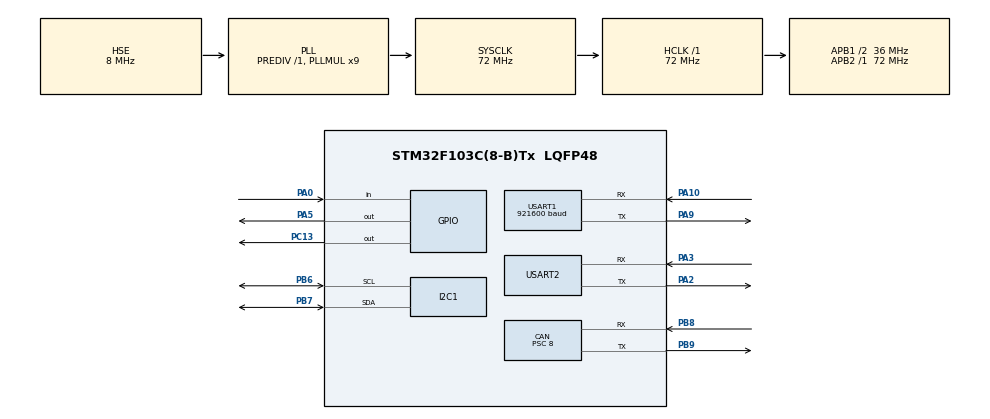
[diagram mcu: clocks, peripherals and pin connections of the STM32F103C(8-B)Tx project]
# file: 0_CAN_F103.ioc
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CAN.BS1=CAN_BS1_6TQ
CAN.BS2=CAN_BS2_2TQ
CAN.CalculateBaudRate=500000
CAN.CalculateTimeBit=2000
CAN.CalculateTimeQuantum=222.22222222222223
CAN.Prescaler=8
CAN.SJW=CAN_SJW_1TQ
Dma.Request0=USART1_RX
Dma.Request1=USART1_TX
Dma.USART1_RX.0.Direction=DMA_PERIPH_TO_MEMORY
Dma.USART1_RX.0.Instance=DMA1_Channel5
Dma.USART1_RX.0.MemDataAlignment=DMA_MDATAALIGN_BYTE
Dma.USART1_RX.0.MemInc=DMA_MINC_ENABLE
Dma.USART1_RX.0.Mode=DMA_NORMAL
Dma.USART1_RX.0.PeriphDataAlignment=DMA_PDATAALIGN_BYTE
Dma.USART1_RX.0.PeriphInc=DMA_PINC_DISABLE
Dma.USART1_RX.0.Priority=DMA_PRIORITY_LOW
Dma.USART1_TX.1.Direction=DMA_MEMORY_TO_PERIPH
Dma.USART1_TX.1.Instance=DMA1_Channel4
Dma.USART1_TX.1.MemDataAlignment=DMA_MDATAALIGN_BYTE
Dma.USART1_TX.1.MemInc=DMA_MINC_ENABLE
Dma.USART1_TX.1.Mode=DMA_NORMAL
Dma.USART1_TX.1.PeriphDataAlignment=DMA_PDATAALIGN_BYTE
Dma.USART1_TX.1.PeriphInc=DMA_PINC_DISABLE
Dma.USART1_TX.1.Priority=DMA_PRIORITY_LOW
Mcu.Family=STM32F1
Mcu.Name=STM32F103C(8-B)Tx
Mcu.Package=LQFP48
NVIC.CAN1_RX1_IRQn=true\:0\:0\:false\:false\:true\:true\:true\:true
NVIC.CAN1_SCE_IRQn=true\:0\:0\:false\:false\:true\:true\:true\:true
NVIC.DMA1_Channel4_IRQn=true\:0\:0\:false\:false\:true\:false\:true\:true
NVIC.DMA1_Channel5_IRQn=true\:0\:0\:false\:false\:true\:false\:true\:true
NVIC.PriorityGroup=NVIC_PRIORITYGROUP_4
NVIC.TIM4_IRQn=true\:0\:0\:false\:false\:true\:true\:true\:true
NVIC.USART1_IRQn=true\:0\:0\:false\:false\:true\:true\:true\:true
NVIC.USB_HP_CAN1_TX_IRQn=true\:0\:0\:false\:false\:true\:true\:true\:true
NVIC.USB_LP_CAN1_RX0_IRQn=true\:0\:0\:false\:false\:true\:true\:true\:true
PA0-WKUP.GPIO_PuPd=GPIO_PULLUP
PA0-WKUP.Signal=GPIO_Input
PA10.Mode=Asynchronous
PA10.Signal=USART1_RX
PA13.Mode=Serial_Wire
PA13.Signal=SYS_JTMS-SWDIO
PA14.Mode=Serial_Wire
PA14.Signal=SYS_JTCK-SWCLK
PA2.Mode=Asynchronous
PA2.Signal=USART2_TX
PA3.Mode=Asynchronous
PA3.Signal=USART2_RX
PA5.GPIO_ModeDefaultOutputPP=GPIO_MODE_OUTPUT_PP
PA5.GPIO_PuPd=GPIO_PULLUP
PA5.Signal=GPIO_Output
PA9.Mode=Asynchronous
PA9.Signal=USART1_TX
PB6.Mode=I2C
PB6.Signal=I2C1_SCL
PB7.Mode=I2C
PB7.Signal=I2C1_SDA
PB8.Mode=CAN_Activate
PB8.Signal=CAN_RX
PB9.Mode=CAN_Activate
PB9.Signal=CAN_TX
PC13-TAMPER-RTC.GPIO_ModeDefaultOutputPP=GPIO_MODE_OUTPUT_OD
PC13-TAMPER-RTC.GPIO_PuPd=GPIO_NOPULL
PC13-TAMPER-RTC.Signal=GPIO_Output
PD0-OSC_IN.Mode=HSE-External-Oscillator
PD0-OSC_IN.Signal=RCC_OSC_IN
PD1-OSC_OUT.Mode=HSE-External-Oscillator
PD1-OSC_OUT.Signal=RCC_OSC_OUT
ProjectManager.HeapSize=0x1000
ProjectManager.StackSize=0x1000
ProjectManager.TargetToolchain=STM32CubeIDE
RCC.ADCPresc=RCC_ADCPCLK2_DIV6
RCC.AHBFreq_Value=72000000
RCC.APB1CLKDivider=RCC_HCLK_DIV2
RCC.APB1Freq_Value=36000000
RCC.APB1TimFreq_Value=72000000
RCC.APB2Freq_Value=72000000
RCC.APB2TimFreq_Value=72000000
RCC.HCLKFreq_Value=72000000
RCC.PLLMUL=RCC_PLL_MUL9
RCC.PLLSourceVirtual=RCC_PLLSOURCE_HSE
RCC.SYSCLKFreq_VALUE=72000000
RCC.SYSCLKSource=RCC_SYSCLKSOURCE_PLLCLK
RCC.USBFreq_Value=48000000
RCC.USBPrescaler=RCC_USBCLKSOURCE_PLL_DIV1_5
TIM4.Period=999
TIM4.Prescaler=71
TIM4.TIM_MasterOutputTrigger=TIM_TRGO_UPDATE
USART1.BaudRate=921600
USART1.StopBits=STOPBITS_2
USART1.VirtualMode=VM_ASYNC
USART2.StopBits=STOPBITS_2
USART2.VirtualMode=VM_ASYNC
VP_TIM1_VS_ClockSourceINT.Mode=Internal
VP_TIM2_VS_ClockSourceINT.Mode=Internal
VP_TIM3_VS_ClockSourceINT.Mode=Internal
VP_TIM4_VS_ClockSourceINT.Mode=Internal
board=custom

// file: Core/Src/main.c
/* USER CODE BEGIN Header */
/**
  ******************************************************************************
  * @file           : main.c
  * @brief          : Main program body
  ******************************************************************************
  * @attention
  *
  * Copyright (c) 2024 STMicroelectronics.
  * All rights reserved.
  *
  * This software is licensed under terms that can be found in the LICENSE file
  * in the root directory of this software component.
  * If no LICENSE file comes with this software, it is provided AS-IS.
  *
  ******************************************************************************
  */
/* USER CODE END Header */
#include "main.h"

/* USER CODE BEGIN Includes */
#include "CO_app_STM32.h"
#include "OD.h"
/* USER CODE END Includes */

CAN_HandleTypeDef hcan;

I2C_HandleTypeDef hi2c1;

TIM_HandleTypeDef htim1;
TIM_HandleTypeDef htim2;
TIM_HandleTypeDef htim3;
TIM_HandleTypeDef htim4;

UART_HandleTypeDef huart1;
UART_HandleTypeDef huart2;
DMA_HandleTypeDef hdma_usart1_rx;
DMA_HandleTypeDef hdma_usart1_tx;

/* USER CODE BEGIN PV */
uint8_t Tx_Array[16]={0x5e,0x6d,0x7f,0x8a,0xa5,0xb6,0xc7,0x1c,0x2e,0x14,0x15,0x1d,0xf3,0xa4,0xc5,0xb3};
uint8_t Rx_Array[16]={0};
CAN_TxHeaderTypeDef Tx_Header;
uint32_t              TxMailbox;
uint64_t            tmp64u_1 = 0x1e1f010b1f1f;
uint64_t            tmp64u_0 = 0x0e0f0a0b0f0f;
uint32_t            tmp32u_0 = 0x0e0f0a0b;
uint32_t            tmp32u_1 = 0x1e1f0a11;
char String_0[]={"String_for_Test_UART     "};
uint32_t Ticks=0;
uint32_t cnt32=0;

/* USER CODE END PV */

void SystemClock_Config(void);
static void MX_GPIO_Init(void);
static void MX_DMA_Init(void);
static void MX_CAN_Init(void);
static void MX_TIM1_Init(void);
static void MX_TIM2_Init(void);
static void MX_TIM3_Init(void);
static void MX_TIM4_Init(void);
static void MX_USART1_UART_Init(void);
static void MX_USART2_UART_Init(void);
static void MX_I2C1_Init(void);

/* USER CODE BEGIN 0 */
/* Timer interrupt function executes every 1 ms */
void
HAL_TIM_PeriodElapsedCallback(TIM_HandleTypeDef* htim)
{
//static uint8_t cvb=0;
//  cvb++;
//  cvb%=128*4;
//  if(cvb==0){HAL_GPIO_TogglePin(GPIOC, GPIO_PIN_13);}
  if (htim == canopenNodeSTM32->timerHandle) {canopen_app_interrupt();}

}
/* USER CODE END 0 */

int main(void)
{

  /* MCU Configuration--------------------------------------------------------*/

  /* Reset of all peripherals, Initializes the Flash interface and the Systick. */
  HAL_Init();

  /* Configure the system clock */
  SystemClock_Config();

  /* Initialize all configured peripherals */
  MX_GPIO_Init();
  MX_DMA_Init();
  MX_CAN_Init();
  MX_TIM1_Init();
  MX_TIM2_Init();
  MX_TIM3_Init();
  MX_TIM4_Init();
  MX_USART1_UART_Init();
  MX_USART2_UART_Init();
  MX_I2C1_Init();
  /* USER CODE BEGIN 2 */

    HAL_Delay(500);
//    String_0[sizeof(String_0) -1] = 0x0A;
//    String_0[sizeof(String_0) -2] = 0x0D;
//    HAL_UART_Transmit_DMA( &huart1, (uint8_t*)(String_0), sizeof(String_0) );
//    while (1){}

#if 0
    //TEST CAN line by Saleae Logic Analizer
  Tx_Header.IDE    = CAN_ID_STD;
  Tx_Header.ExtId  = 0;
  Tx_Header.DLC    = 8;
  Tx_Header.StdId  = 0x321;
  Tx_Header.RTR    = CAN_RTR_DATA;

  HAL_CAN_Start(&hcan);  HAL_Delay(1500);

  if(
      HAL_CAN_AddTxMessage( &hcan,
    		                &Tx_Header,
							Tx_Array, &TxMailbox)==HAL_OK
  	 ){
	  /* Wait transmission complete */
	  //while(HAL_CAN_GetTxMailboxesFreeLevel(&hcan) != 3) {}
		  for(uint8_t cnt=0;cnt<8;cnt++)
		  {
		   HAL_GPIO_TogglePin(GPIOC, GPIO_PIN_13);
		   HAL_Delay(64);
		  }
	  }
#endif

for(uint8_t cnt=0;cnt<50;cnt++)
{
	HAL_GPIO_TogglePin(GPIOA, GPIO_PIN_5 );
	HAL_GPIO_TogglePin(GPIOC, GPIO_PIN_13 );
    HAL_Delay(20);
}
//HAL_GPIO_WritePin(GPIOA, GPIO_PIN_5, GPIO_PIN_RESET);//off
//HAL_GPIO_WritePin(GPIOC, GPIO_PIN_13, GPIO_PIN_SET);  HAL_Delay(2200);//off

  CANopenNodeSTM32 canOpenNodeSTM32;
  canOpenNodeSTM32.CANHandle = &hcan;
  canOpenNodeSTM32.HWInitFunction = MX_CAN_Init;
  canOpenNodeSTM32.timerHandle = &htim4;
  canOpenNodeSTM32.desiredNodeID = 103;
  canOpenNodeSTM32.baudrate = 125*4;
  canopen_app_init(&canOpenNodeSTM32);

  //HAL_Delay(4000);
  //while (1){}

  /* USER CODE END 2 */

  /* Infinite loop */
  /* USER CODE BEGIN WHILE */
  HAL_GPIO_WritePin(GPIOC, GPIO_PIN_13, !canOpenNodeSTM32.outStatusLEDGreen);
  HAL_GPIO_WritePin(GPIOA, GPIO_PIN_5 ,  canOpenNodeSTM32.outStatusLEDRed  );

  while (1)
  {
	  HAL_GPIO_WritePin(GPIOC, GPIO_PIN_13, !canOpenNodeSTM32.outStatusLEDGreen);
	  HAL_GPIO_WritePin(GPIOA, GPIO_PIN_5 ,  canOpenNodeSTM32.outStatusLEDRed  );

	  canopen_app_process();

	  		  if(HAL_GetTick() - Ticks>499)
	  		  {Ticks = HAL_GetTick();}

	  			if(tmp32u_0 != OD_PERSIST_COMM.x6001_F103_VAR32_6001R)
	  			{
	  			tmp32u_0 = OD_PERSIST_COMM.x6001_F103_VAR32_6001R;
	  			huart1.gState = HAL_UART_STATE_READY;
	  			HAL_UART_Transmit_DMA( &huart1, (uint8_t*)(&tmp32u_0), 4);
	  			}

//	  			if(tmp32u_1 != OD_PERSIST_COMM.x6002_F103_VAR32_6002R)
//	  			{
//	  				tmp32u_1 = OD_PERSIST_COMM.x6002_F103_VAR32_6002R;
//	  			huart1.gState = HAL_UART_STATE_READY;
//	  			HAL_UART_Transmit_DMA( &huart1, (uint8_t*)(&tmp32u_1), 4);
//	  			}

    /* USER CODE END WHILE */

  }
}

void SystemClock_Config(void)
{
  RCC_OscInitTypeDef RCC_OscInitStruct = {0};
  RCC_ClkInitTypeDef RCC_ClkInitStruct = {0};

  /** Initializes the RCC Oscillators according to the specified parameters
  * in the RCC_OscInitTypeDef structure.
  */
  RCC_OscInitStruct.OscillatorType = RCC_OSCILLATORTYPE_HSE;
  RCC_OscInitStruct.HSEState = RCC_HSE_ON;
  RCC_OscInitStruct.HSEPredivValue = RCC_HSE_PREDIV_DIV1;
  RCC_OscInitStruct.HSIState = RCC_HSI_ON;
  RCC_OscInitStruct.PLL.PLLState = RCC_PLL_ON;
  RCC_OscInitStruct.PLL.PLLSource = RCC_PLLSOURCE_HSE;
  RCC_OscInitStruct.PLL.PLLMUL = RCC_PLL_MUL9;
  if (HAL_RCC_OscConfig(&RCC_OscInitStruct) != HAL_OK)
  {
    Error_Handler();
  }

  /** Initializes the CPU, AHB and APB buses clocks
  */
  RCC_ClkInitStruct.ClockType = RCC_CLOCKTYPE_HCLK|RCC_CLOCKTYPE_SYSCLK
                              |RCC_CLOCKTYPE_PCLK1|RCC_CLOCKTYPE_PCLK2;
  RCC_ClkInitStruct.SYSCLKSource = RCC_SYSCLKSOURCE_PLLCLK;
  RCC_ClkInitStruct.AHBCLKDivider = RCC_SYSCLK_DIV1;
  RCC_ClkInitStruct.APB1CLKDivider = RCC_HCLK_DIV2;
  RCC_ClkInitStruct.APB2CLKDivider = RCC_HCLK_DIV1;

  if (HAL_RCC_ClockConfig(&RCC_ClkInitStruct, FLASH_LATENCY_2) != HAL_OK)
  {
    Error_Handler();
  }
}

static void MX_CAN_Init(void)
{

  hcan.Instance = CAN1;
  hcan.Init.Prescaler = 8;
  hcan.Init.Mode = CAN_MODE_NORMAL;
  hcan.Init.SyncJumpWidth = CAN_SJW_1TQ;
  hcan.Init.TimeSeg1 = CAN_BS1_6TQ;
  hcan.Init.TimeSeg2 = CAN_BS2_2TQ;
  hcan.Init.TimeTriggeredMode = DISABLE;
  hcan.Init.AutoBusOff = DISABLE;
  hcan.Init.AutoWakeUp = DISABLE;
  hcan.Init.AutoRetransmission = DISABLE;
  hcan.Init.ReceiveFifoLocked = DISABLE;
  hcan.Init.TransmitFifoPriority = DISABLE;
  if (HAL_CAN_Init(&hcan) != HAL_OK)
  {
    Error_Handler();
  }

}

static void MX_I2C1_Init(void)
{

  hi2c1.Instance = I2C1;
  hi2c1.Init.ClockSpeed = 100000;
  hi2c1.Init.DutyCycle = I2C_DUTYCYCLE_2;
  hi2c1.Init.OwnAddress1 = 0;
  hi2c1.Init.AddressingMode = I2C_ADDRESSINGMODE_7BIT;
  hi2c1.Init.DualAddressMode = I2C_DUALADDRESS_DISABLE;
  hi2c1.Init.OwnAddress2 = 0;
  hi2c1.Init.GeneralCallMode = I2C_GENERALCALL_DISABLE;
  hi2c1.Init.NoStretchMode = I2C_NOSTRETCH_DISABLE;
  if (HAL_I2C_Init(&hi2c1) != HAL_OK)
  {
    Error_Handler();
  }

}

static void MX_TIM1_Init(void)
{

  TIM_ClockConfigTypeDef sClockSourceConfig = {0};
  TIM_MasterConfigTypeDef sMasterConfig = {0};

  htim1.Instance = TIM1;
  htim1.Init.Prescaler = 0;
  htim1.Init.CounterMode = TIM_COUNTERMODE_UP;
  htim1.Init.Period = 65535;
  htim1.Init.ClockDivision = TIM_CLOCKDIVISION_DIV1;
  htim1.Init.RepetitionCounter = 0;
  htim1.Init.AutoReloadPreload = TIM_AUTORELOAD_PRELOAD_DISABLE;
  if (HAL_TIM_Base_Init(&htim1) != HAL_OK)
  {
    Error_Handler();
  }
  sClockSourceConfig.ClockSource = TIM_CLOCKSOURCE_INTERNAL;
  if (HAL_TIM_ConfigClockSource(&htim1, &sClockSourceConfig) != HAL_OK)
  {
    Error_Handler();
  }
  sMasterConfig.MasterOutputTrigger = TIM_TRGO_RESET;
  sMasterConfig.MasterSlaveMode = TIM_MASTERSLAVEMODE_DISABLE;
  if (HAL_TIMEx_MasterConfigSynchronization(&htim1, &sMasterConfig) != HAL_OK)
  {
    Error_Handler();
  }

}

static void MX_TIM2_Init(void)
{

  TIM_ClockConfigTypeDef sClockSourceConfig = {0};
  TIM_MasterConfigTypeDef sMasterConfig = {0};

  htim2.Instance = TIM2;
  htim2.Init.Prescaler = 0;
  htim2.Init.CounterMode = TIM_COUNTERMODE_UP;
  htim2.Init.Period = 65535;
  htim2.Init.ClockDivision = TIM_CLOCKDIVISION_DIV1;
  htim2.Init.AutoReloadPreload = TIM_AUTORELOAD_PRELOAD_DISABLE;
  if (HAL_TIM_Base_Init(&htim2) != HAL_OK)
  {
    Error_Handler();
  }
  sClockSourceConfig.ClockSource = TIM_CLOCKSOURCE_INTERNAL;
  if (HAL_TIM_ConfigClockSource(&htim2, &sClockSourceConfig) != HAL_OK)
  {
    Error_Handler();
  }
  sMasterConfig.MasterOutputTrigger = TIM_TRGO_RESET;
  sMasterConfig.MasterSlaveMode = TIM_MASTERSLAVEMODE_DISABLE;
  if (HAL_TIMEx_MasterConfigSynchronization(&htim2, &sMasterConfig) != HAL_OK)
  {
    Error_Handler();
  }

}

static void MX_TIM3_Init(void)
{

  TIM_ClockConfigTypeDef sClockSourceConfig = {0};
  TIM_MasterConfigTypeDef sMasterConfig = {0};

  htim3.Instance = TIM3;
  htim3.Init.Prescaler = 0;
  htim3.Init.CounterMode = TIM_COUNTERMODE_UP;
  htim3.Init.Period = 65535;
  htim3.Init.ClockDivision = TIM_CLOCKDIVISION_DIV1;
  htim3.Init.AutoReloadPreload = TIM_AUTORELOAD_PRELOAD_DISABLE;
  if (HAL_TIM_Base_Init(&htim3) != HAL_OK)
  {
    Error_Handler();
  }
  sClockSourceConfig.ClockSource = TIM_CLOCKSOURCE_INTERNAL;
  if (HAL_TIM_ConfigClockSource(&htim3, &sClockSourceConfig) != HAL_OK)
  {
    Error_Handler();
  }
  sMasterConfig.MasterOutputTrigger = TIM_TRGO_RESET;
  sMasterConfig.MasterSlaveMode = TIM_MASTERSLAVEMODE_DISABLE;
  if (HAL_TIMEx_MasterConfigSynchronization(&htim3, &sMasterConfig) != HAL_OK)
  {
    Error_Handler();
  }

}

static void MX_TIM4_Init(void)
{

  TIM_ClockConfigTypeDef sClockSourceConfig = {0};
  TIM_MasterConfigTypeDef sMasterConfig = {0};

  htim4.Instance = TIM4;
  htim4.Init.Prescaler = 71;
  htim4.Init.CounterMode = TIM_COUNTERMODE_UP;
  htim4.Init.Period = 999;
  htim4.Init.ClockDivision = TIM_CLOCKDIVISION_DIV1;
  htim4.Init.AutoReloadPreload = TIM_AUTORELOAD_PRELOAD_DISABLE;
  if (HAL_TIM_Base_Init(&htim4) != HAL_OK)
  {
    Error_Handler();
  }
  sClockSourceConfig.ClockSource = TIM_CLOCKSOURCE_INTERNAL;
  if (HAL_TIM_ConfigClockSource(&htim4, &sClockSourceConfig) != HAL_OK)
  {
    Error_Handler();
  }
  sMasterConfig.MasterOutputTrigger = TIM_TRGO_UPDATE;
  sMasterConfig.MasterSlaveMode = TIM_MASTERSLAVEMODE_DISABLE;
  if (HAL_TIMEx_MasterConfigSynchronization(&htim4, &sMasterConfig) != HAL_OK)
  {
    Error_Handler();
  }

}

static void MX_USART1_UART_Init(void)
{

  huart1.Instance = USART1;
  huart1.Init.BaudRate = 921600;
  huart1.Init.WordLength = UART_WORDLENGTH_8B;
  huart1.Init.StopBits = UART_STOPBITS_2;
  huart1.Init.Parity = UART_PARITY_NONE;
  huart1.Init.Mode = UART_MODE_TX_RX;
  huart1.Init.HwFlowCtl = UART_HWCONTROL_NONE;
  huart1.Init.OverSampling = UART_OVERSAMPLING_16;
  if (HAL_UART_Init(&huart1) != HAL_OK)
  {
    Error_Handler();
  }

}

static void MX_USART2_UART_Init(void)
{

  huart2.Instance = USART2;
  huart2.Init.BaudRate = 115200;
  huart2.Init.WordLength = UART_WORDLENGTH_8B;
  huart2.Init.StopBits = UART_STOPBITS_2;
  huart2.Init.Parity = UART_PARITY_NONE;
  huart2.Init.Mode = UART_MODE_TX_RX;
  huart2.Init.HwFlowCtl = UART_HWCONTROL_NONE;
  huart2.Init.OverSampling = UART_OVERSAMPLING_16;
  if (HAL_UART_Init(&huart2) != HAL_OK)
  {
    Error_Handler();
  }

}

static void MX_DMA_Init(void)
{

  /* DMA controller clock enable */
  __HAL_RCC_DMA1_CLK_ENABLE();

  /* DMA interrupt init */
  /* DMA1_Channel4_IRQn interrupt configuration */
  HAL_NVIC_SetPriority(DMA1_Channel4_IRQn, 0, 0);
  HAL_NVIC_EnableIRQ(DMA1_Channel4_IRQn);
  /* DMA1_Channel5_IRQn interrupt configuration */
  HAL_NVIC_SetPriority(DMA1_Channel5_IRQn, 0, 0);
  HAL_NVIC_EnableIRQ(DMA1_Channel5_IRQn);

}

static void MX_GPIO_Init(void)
{
  GPIO_InitTypeDef GPIO_InitStruct = {0};

  /* GPIO Ports Clock Enable */
  __HAL_RCC_GPIOC_CLK_ENABLE();
  __HAL_RCC_GPIOD_CLK_ENABLE();
  __HAL_RCC_GPIOA_CLK_ENABLE();
  __HAL_RCC_GPIOB_CLK_ENABLE();

  /*Configure GPIO pin Output Level */
  HAL_GPIO_WritePin(GPIOC, GPIO_PIN_13, GPIO_PIN_RESET);

  /*Configure GPIO pin Output Level */
  HAL_GPIO_WritePin(GPIOA, GPIO_PIN_5, GPIO_PIN_RESET);

  /*Configure GPIO pin : PC13 */
  GPIO_InitStruct.Pin = GPIO_PIN_13;
  GPIO_InitStruct.Mode = GPIO_MODE_OUTPUT_OD;
  GPIO_InitStruct.Pull = GPIO_NOPULL;
  GPIO_InitStruct.Speed = GPIO_SPEED_FREQ_LOW;
  HAL_GPIO_Init(GPIOC, &GPIO_InitStruct);

  /*Configure GPIO pin : PA0 */
  GPIO_InitStruct.Pin = GPIO_PIN_0;
  GPIO_InitStruct.Mode = GPIO_MODE_INPUT;
  GPIO_InitStruct.Pull = GPIO_PULLUP;
  HAL_GPIO_Init(GPIOA, &GPIO_InitStruct);

  /*Configure GPIO pin : PA5 */
  GPIO_InitStruct.Pin = GPIO_PIN_5;
  GPIO_InitStruct.Mode = GPIO_MODE_OUTPUT_PP;
  GPIO_InitStruct.Pull = GPIO_PULLUP;
  GPIO_InitStruct.Speed = GPIO_SPEED_FREQ_LOW;
  HAL_GPIO_Init(GPIOA, &GPIO_InitStruct);

}

void Error_Handler(void)
{
  __disable_irq();
  while (1)
  {
  }
}
